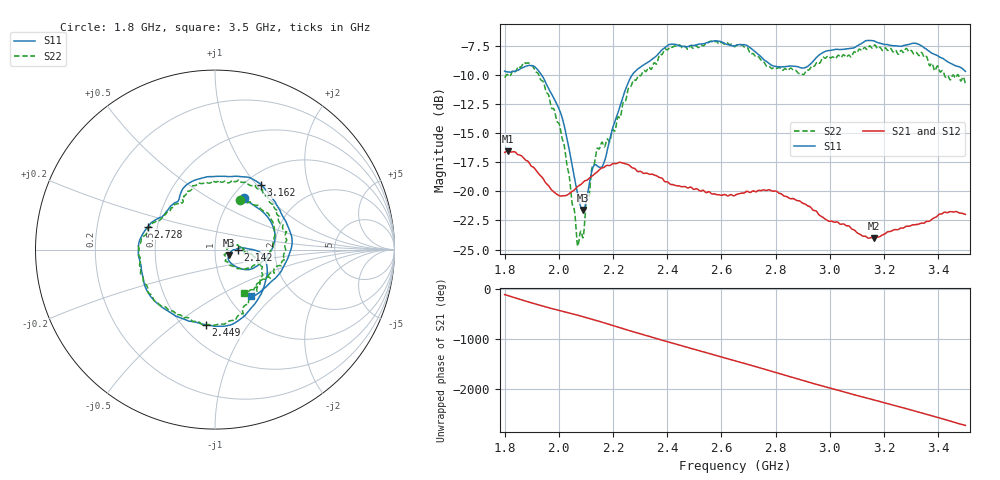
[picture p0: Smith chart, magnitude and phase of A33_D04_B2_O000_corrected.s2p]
! Created with skrf 1.9.0 (http://scikit-rf.org).
# Hz S RI R 50.0
!freq ReS11 ImS11 ReS21 ImS21 ReS12 ImS12 ReS22 ImS22
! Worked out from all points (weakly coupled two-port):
!   1601 points, 1.8 GHz to 3.5 GHz, reference 50 ohm
!   highest |S21| = -16.55 dB at 1.812 GHz (marker M1); lowest = -24.0 dB at 3.162 GHz (marker M2)
!   lowest |S11| = -21.6 dB at 2.09 GHz (marker M3), VSWR 1.18, Z = 58.3 - j3.47 ohm
!   |S11| at or under -10 dB: 1.937 GHz to 2.27 GHz (333.5 MHz wide, 15.9 % of centre)
!   |S22| runs from -24.7 to -7.1 dB; largest |S21 - S12| = 0.0025
!   S11 on the Smith chart (normalised r, x): 1.8 GHz: 1.14, +0.73; 2.142 GHz: 1.30, -0.00; 2.449 GHz: 0.64, -0.66; 2.728 GHz: 0.44, +0.13; 3.162 GHz: 1.18, +1.06; 3.5 GHz: 1.26, -0.74
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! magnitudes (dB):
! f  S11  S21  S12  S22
! 1.8 GHz  -9.7  -16.6  -16.6  -10.2
! 1.812 GHz  -9.7  -16.5  -16.5  -10.0
! 1.883 GHz  -9.2  -17.4  -17.4  -9.0
! 1.942 GHz  -10.2  -18.9  -18.9  -10.6
! 2.011 GHz  -13.6  -20.4  -20.4  -15.4
! 2.068 GHz  -20.0  -19.6  -19.6  -24.5
! 2.084 GHz  -21.5  -19.4  -19.3  -23.5
! 2.09 GHz  -21.6  -19.2  -19.2  -23.9
! 2.124 GHz  -18.1  -18.7  -18.6  -17.8
! 2.142 GHz  -17.8  -18.3  -18.3  -16.3
! 2.167 GHz  -17.5  -17.9  -17.9  -16.1
! 2.265 GHz  -10.2  -17.9  -17.9  -11.0
! 2.367 GHz  -8.2  -18.8  -18.7  -8.5
! 2.449 GHz  -7.5  -19.6  -19.6  -7.5
! 2.65 GHz  -7.5  -20.3  -20.3  -7.6
! 2.728 GHz  -8.1  -20.0  -20.0  -8.4
! 2.799 GHz  -9.2  -20.0  -20.0  -9.3
! 2.934 GHz  -8.9  -21.5  -21.5  -9.2
! 3.162 GHz  -7.1  -24.0  -24.0  -7.5
! 3.217 GHz  -7.4  -23.4  -23.4  -7.8
! 3.324 GHz  -7.3  -22.8  -22.8  -8.2
! 3.5 GHz  -9.7  -22.0  -22.0  -10.7
